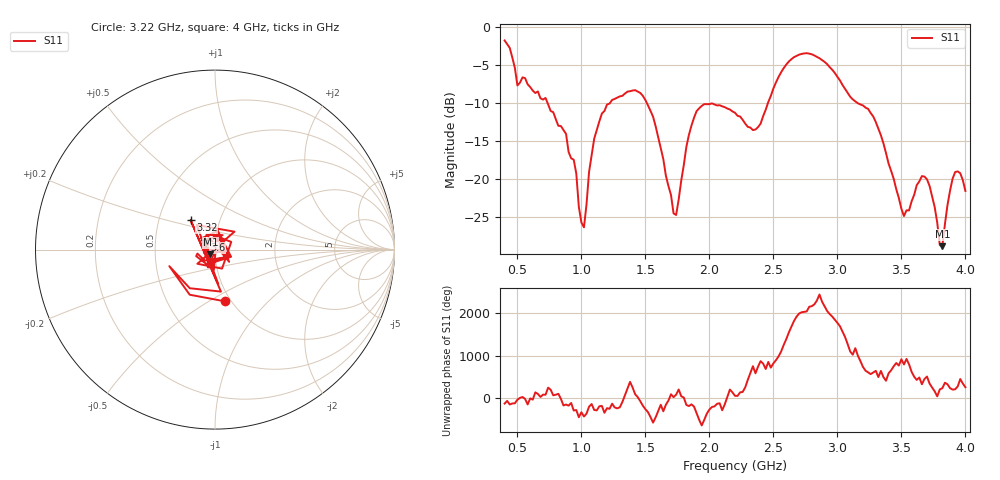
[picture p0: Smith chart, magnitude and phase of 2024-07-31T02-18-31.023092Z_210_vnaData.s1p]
!Created with skrf (http://scikit-rf.org).
# Hz S RI R 50.0
!freq ReS11 ImS11
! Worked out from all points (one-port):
!   181 points, 400 MHz to 4 GHz, reference 50 ohm
!   lowest |S11| = -28.8 dB at 3.82 GHz (marker M1), VSWR 1.08, Z = 47.5 - j2.48 ohm
!   |S11| at or under -10 dB: 734.9 MHz to 1.224 GHz (489.4 MHz wide, 50 % of centre); 1.51 GHz to 2.458 GHz (947.9 MHz wide, 47.8 % of centre); 3.155 GHz to end of sweep
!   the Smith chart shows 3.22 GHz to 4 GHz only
!   S11 on the Smith chart (normalised r, x): 3.22 GHz: 0.94, -0.59; 3.32 GHz: 0.72, +0.25; 3.6 GHz: 0.89, +0.10; 4 GHz: 0.93, -0.15
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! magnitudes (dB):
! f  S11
! 400 MHz  -1.8
! 500 MHz  -7.7
! 560 MHz  -6.8
! 860 MHz  -13.6
! 940 MHz  -17.5
! 1.02 GHz  -26.3
! 1.1 GHz  -14.7
! 1.3 GHz  -9.2
! 1.5 GHz  -9.6
! 1.58 GHz  -13.1
! 1.72 GHz  -24.5
! 1.76 GHz  -22.7
! 1.82 GHz  -15.8
! 1.9 GHz  -11.1
! 2.2 GHz  -11.3
! 2.38 GHz  -13.2
! 2.66 GHz  -4.0
! 2.86 GHz  -4.2
! 3.1 GHz  -9.2
! 3.22 GHz  -10.6
! 3.32 GHz  -13.4
! 3.52 GHz  -24.9
! 3.56 GHz  -24.1
! 3.6 GHz  -22.1
! 3.7 GHz  -20.0
! 3.82 GHz  -28.8
! 3.92 GHz  -19.1
! 4 GHz  -21.6
